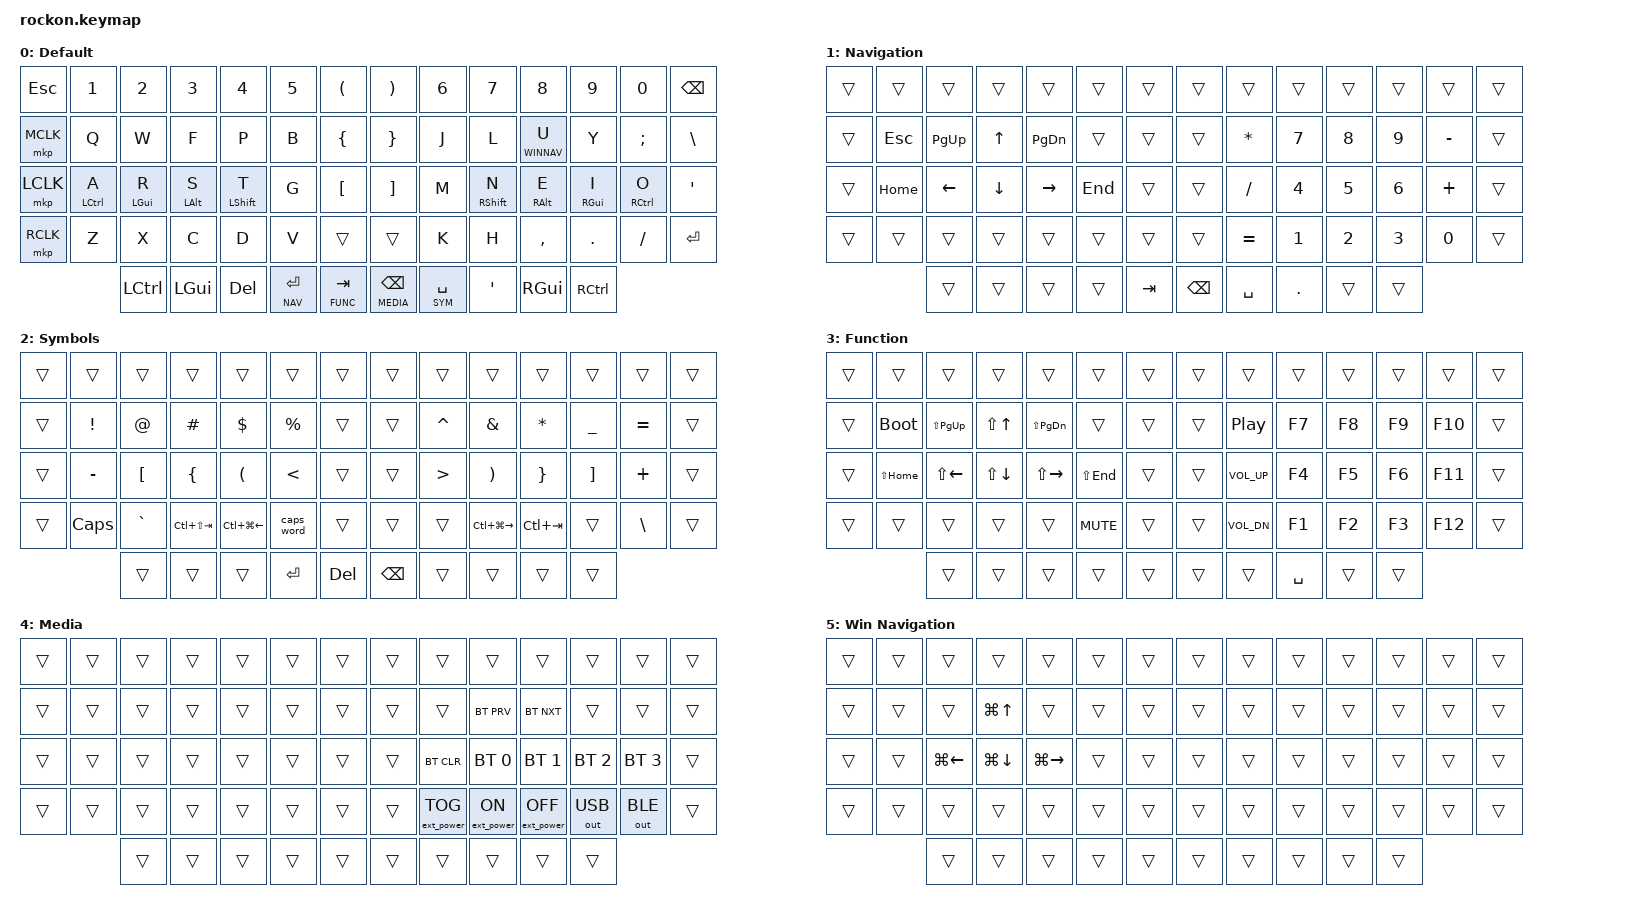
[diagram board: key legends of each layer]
#include <behaviors.dtsi>
#include <dt-bindings/zmk/keys.h>
#include <dt-bindings/zmk/bt.h>
#include <dt-bindings/zmk/ext_power.h>
#include <dt-bindings/zmk/outputs.h>
#include <dt-bindings/zmk/mouse.h>

#define DEFAULT 0
#define NAV     1
#define SYM     2
#define FUNC    3
#define MEDIA   4
#define WINNAV  5

&caps_word {
    continue-list = <UNDERSCORE MINUS>;
};

/ {
    combos {
        compatible = "zmk,combos";
        combo_undo {
            timeout-ms = <50>;
            key-positions = <44 45>;
            bindings = <&kp LC(Z)>;
        };
    };
};

/ {
    behaviors {
        hm: homerow_mods {
            compatible = "zmk,behavior-hold-tap";
            label = "HOMEROW_MODS";
            #binding-cells = <2>;
            tapping-term-ms = <200>;
            quick_tap_ms = <0>;
            flavor = "tap-preferred";
            bindings = <&kp>, <&kp>;
        };
        hs: homerow_shift {
            compatible = "zmk,behavior-hold-tap";
            label = "HOMEROW_SHIFT";
            #binding-cells = <2>;
            tapping-term-ms = <175>;
            quick_tap_ms = <0>;
            flavor = "balanced";
            bindings = <&kp>, <&kp>;
        };
    };


    keymap {
        compatible = "zmk,keymap";

        default_layer {
            label = "Default";
            bindings = <
    &kp ESC    &kp N1      &kp N2      &kp N3      &kp N4        &kp N5       &kp LPAR             &kp RPAR        &kp N6         &kp N7        &kp N8        &kp N9      &kp N0      &kp BSPC
    &mkp MCLK  &kp Q       &kp W       &kp F       &kp P         &kp B        &kp LBRC             &kp RBRC        &kp J          &kp L         &lt WINNAV U  &kp Y       &kp SEMI    &kp BSLH
    &mkp LCLK  &hm LCTL A  &hm LGUI R  &hm LALT S  &hs LSHIFT T  &kp G        &kp LBKT             &kp RBKT        &kp M    &hs RSHIFT N  &hm RALT E    &hm RGUI I  &hm RCTL O  &kp SQT
    &mkp RCLK  &kp Z       &kp X       &kp C       &kp D         &kp V        &trans               &trans          &kp K          &kp H         &kp COMMA     &kp DOT     &kp FSLH    &kp RET
                           &kp LCTL    &kp LGUI    &kp DEL       &lt NAV RET  &lt FUNC TAB         &lt MEDIA BSPC  &lt SYM SPACE  &kp SQT       &kp RGUI      &kp RCTL
            >;
        };

        nav_layer {
            label = "Navigation";
            
            bindings = <
    &trans     &trans       &trans       &trans      &trans        &trans      &trans               &trans     &trans        &trans       &trans        &trans      &trans      &trans
    &trans     &kp ESC      &kp PG_UP    &kp UP      &kp PG_DN     &trans      &trans               &trans     &kp ASTRK     &kp N7       &kp N8        &kp N9      &kp MINUS   &trans
    &trans     &kp HOME     &kp LEFT     &kp DOWN    &kp RIGHT     &kp END     &trans               &trans     &kp FSLH      &kp N4       &kp N5        &kp N6      &kp PLUS    &trans
    &trans     &trans       &trans       &trans      &trans        &trans      &trans               &trans     &kp EQUAL     &kp N1       &kp N2        &kp N3      &kp N0      &trans
                            &trans       &trans      &trans        &trans       &kp TAB       &kp BSPC         &kp SPACE     &kp DOT      &trans        &trans
            >;
        };

        sym_layer {
            label = "Symbols";

            bindings = <
    &trans     &trans       &trans       &trans          &trans           &trans        &trans         &trans         &trans        &trans            &trans        &trans      &trans      &trans
    &trans     &kp EXCL     &kp AT       &kp HASH        &kp DLLR         &kp PRCNT     &trans         &trans         &kp CARET     &kp AMPS          &kp ASTRK     &kp UNDER   &kp EQUAL   &trans
    &trans     &kp MINUS    &kp LBKT     &kp LBRC        &kp LPAR         &kp LT        &trans         &trans         &kp GT        &kp RPAR          &kp RBRC      &kp RBKT    &kp PLUS    &trans
    &trans     &kp CAPS     &kp GRAVE    &kp LC(LS(TAB)) &kp LC(LG(LEFT)) &caps_word    &trans         &trans         &trans        &kp LC(LG(RIGHT)) &kp LC(TAB)   &trans      &kp BSLH    &trans
                            &trans       &trans          &trans           &kp RET       &kp DEL        &kp BSPC       &trans        &trans            &trans        &trans
            >;
        };

        func_layer {
            label = "Function";

            bindings = <
    &trans     &trans       &trans        &trans       &trans        &trans        &trans             &trans     &trans           &trans       &trans        &trans      &trans      &trans
    &trans     &bootloader  &kp LS(PG_UP) &kp LS(UP)   &kp LS(PG_DN) &trans        &trans             &trans     &kp C_PLAY_PAUSE &kp F7       &kp F8        &kp F9      &kp F10     &trans
    &trans     &kp LS(HOME) &kp LS(LEFT)  &kp LS(DOWN) &kp LS(RIGHT) &kp LS(END)   &trans             &trans     &kp K_VOL_UP     &kp F4       &kp F5        &kp F6      &kp F11     &trans
    &trans     &trans       &trans        &trans       &trans        &kp C_MUTE    &trans             &trans     &kp K_VOL_DN     &kp F1       &kp F2        &kp F3      &kp F12     &trans
                            &trans        &trans       &trans        &trans        &trans             &trans     &trans           &kp SPACE    &trans        &trans
            >;
        };

        media_layer {
            label = "Media";

            bindings = <
    &trans     &trans      &trans         &trans       &trans        &trans        &trans             &trans     &trans             &trans            &trans             &trans         &trans          &trans
    &trans     &trans      &trans         &trans       &trans        &trans        &trans             &trans     &trans             &bt BT_PRV        &bt BT_NXT         &trans         &trans          &trans
    &trans     &trans      &trans         &trans       &trans        &trans        &trans             &trans     &bt BT_CLR         &bt BT_SEL 0      &bt BT_SEL 1       &bt BT_SEL 2   &bt BT_SEL 3    &trans
    &trans     &trans      &trans         &trans       &trans        &trans        &trans             &trans     &ext_power EP_TOG  &ext_power EP_ON  &ext_power EP_OFF  &out OUT_USB   &out OUT_BLE    &trans
                           &trans         &trans       &trans        &trans        &trans             &trans     &trans             &trans            &trans             &trans
            >;
        };

        winnav_layer {
            label = "Win Navigation";

            bindings = <
    &trans     &trans       &trans       &trans       &trans        &trans        &trans             &trans     &trans      &trans      &trans      &trans      &trans      &trans
    &trans     &trans       &trans       &kp LG(UP)   &trans        &trans        &trans             &trans     &trans      &trans      &trans      &trans      &trans      &trans
    &trans     &trans       &kp LG(LEFT) &kp LG(DOWN) &kp LG(RIGHT) &trans        &trans             &trans     &trans      &trans      &trans      &trans      &trans      &trans
    &trans     &trans       &trans       &trans       &trans        &trans        &trans             &trans     &trans      &trans      &trans      &trans      &trans      &trans
                            &trans       &trans       &trans        &trans        &trans             &trans     &trans      &trans      &trans      &trans
            >;
        };
    };
};
